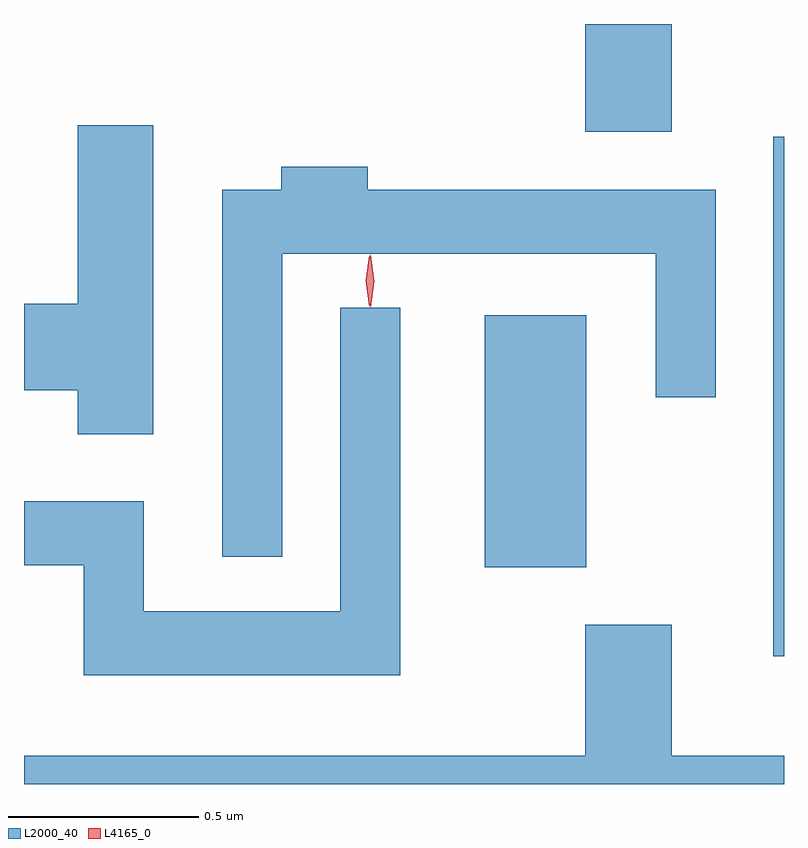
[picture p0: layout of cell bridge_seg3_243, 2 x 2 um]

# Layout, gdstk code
import gdstk
lib = gdstk.Library(unit=1e-6, precision=1e-09)
def R(c, l, rs):  # rectangles x0, y0, x1, y1
    for r in rs: c.add(gdstk.rectangle(r[:2], r[2:], *l))
def P(c, l, *ps):  # polygons
    for p in ps: c.add(gdstk.Polygon(p, *l))
L2000_40 = (2000, 40)
L4165_0 = (4165, 0)

bridge_seg3_243 = lib.new_cell('bridge_seg3_243')
R(bridge_seg3_243, L2000_40, [(929.006,1142.086,929.034,1143.453), (928.246,1142.321,928.514,1142.984), (928.511,1143.466,928.739,1143.75)])
P(bridge_seg3_243, L2000_40, [(927.374,1143.484),(927.176,1143.484),(927.176,1143.014),(927.034,1143.014),(927.034,1142.786),(927.176,1142.786),(927.176,1142.671),(927.374,1142.671)],
  [(927.714,1143.146),(928.696,1143.146),(928.696,1142.768),(928.854,1142.768),(928.854,1143.314),(927.939,1143.314),(927.939,1143.374),(927.711,1143.374),(927.711,1143.314),(927.556,1143.314),(927.556,1142.348),(927.714,1142.348)],
  [(928.024,1143.003),(927.866,1143.003),(927.866,1142.204),(927.349,1142.204),(927.349,1142.494),(927.034,1142.494),(927.034,1142.326),(927.191,1142.326),(927.191,1142.036),(928.024,1142.036)],
  [(929.034,1141.824),(928.739,1141.824),(928.739,1142.169),(928.511,1142.169),(928.511,1141.824),(927.034,1141.824),(927.034,1141.75),(929.034,1141.75)])
P(bridge_seg3_243, L4165_0, [(927.943,1143.007),(927.933,1143.074),(927.943,1143.14),(927.943,1143.14),(927.944,1143.14),(927.953,1143.074),(927.944,1143.007),(927.944,1143.007)],
  [(927.946,1143.004),(927.946,1143.004),(927.936,1143.073),(927.946,1143.143),(927.946,1143.143),(927.947,1143.143),(927.956,1143.073),(927.947,1143.004)])

lib.write_gds('bridge_seg3_243.gds')
